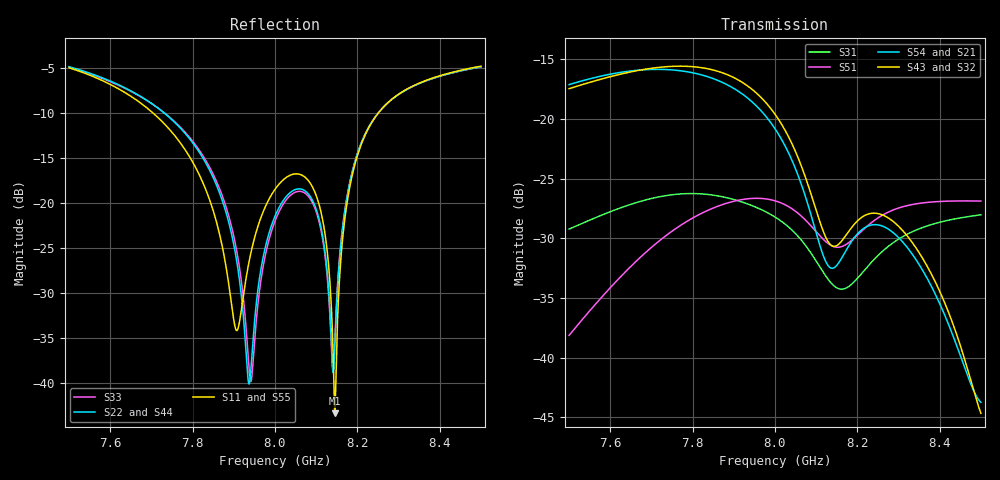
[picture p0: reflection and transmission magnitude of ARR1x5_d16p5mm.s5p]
! Touchstone file exported from HFSS 2025.1.0
!  File:  C:/Users/user/Documents/Ansoft/TFG_UWB-MIMO-Array.aedt
!  Generated:  09:03:14 PM Nov 21, 2026
!  Design:  ARR1x5_US3_PS4_2_1_dparam
!  Project:  TFG_UWB-MIMO-Array
!  Setup:  Setup_ch9
!  Solution:  Sweep_7p5_8p5
! Variables:
!  arr_d = 16.5mm
!  board_m = 13mm
!  board_x = 92mm
!  board_y = 26mm
!  cu_t = 0.035mm
!  line_w = 3.92mm
!  pad_xy = 22mm
!  pad_zn = 25mm
!  pad_zp = 33mm
!  par_L = 7.46mm
!  par_W = 10mm
!  par_yc = 0.75mm
!  par_z = 1.035mm
!  patch_L = 6.222mm
!  patch_W = 11.421266mm
!  sub_h = 2.07mm
!  tr_l = 6.6mm
!  tr_w = 0.8mm
!  u_Lu = 2.65mm
!  u_Wu = 4.4mm
!  u_t = 0.8mm
!  u_y0 = -0.7mm
# GHz S MA R 50.000000
! Terminal data exported
! Port[1] = P1
! Port[2] = P2
! Port[3] = P3
! Port[4] = P4
! Port[5] = P5
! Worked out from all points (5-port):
!   1001 points, 7.5 GHz to 8.5 GHz, reference 50 ohm
!   strongest paths, dB at 7.5 GHz, 7.75 GHz, 8 GHz, 8.25 GHz, 8.5 GHz:
!     S43: -17.4, -15.6, -19.6, -27.9, -44.7
!     S32: -17.4, -15.6, -19.6, -27.9, -45.1
!     S54: -17.1, -15.9, -20.8, -28.9, -43.7
!     S21: -17.1, -15.9, -20.8, -28.9, -43.7
!     S51: -38.1, -29.4, -26.8, -28.3, -26.9
!     S31: -29.2, -26.3, -28.2, -31.4, -28.0
!   lowest |S11| = -43.3 dB at 8.145 GHz (marker M1), VSWR 1.01, Z = 50.4 + j0.554 ohm
!   |S11| at or under -10 dB: 7.704 GHz to 8.251 GHz (546.4 MHz wide, 6.85 % of centre)
